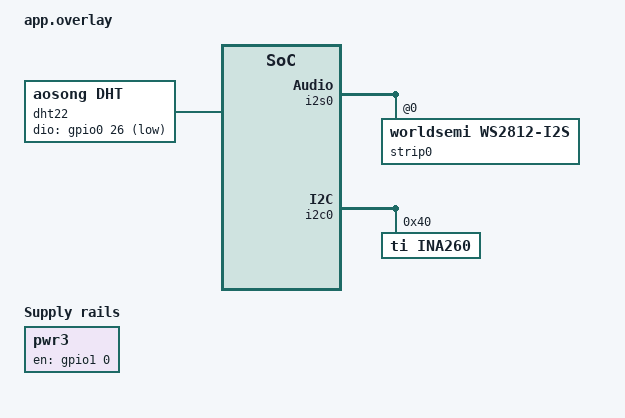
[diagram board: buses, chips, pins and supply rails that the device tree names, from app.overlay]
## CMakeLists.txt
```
cmake_minimum_required(VERSION 3.20.0)

find_package(Zephyr REQUIRED HINTS $ENV{ZEPHYR_BASE})
project(solar-node)

target_sources(app PRIVATE 
    src/main.cpp
    src/wifi_autoconnect.c
    src/mqtt_client.c
    src/ina_sensor.c
    src/dht_sensor.c
    src/output_control.c
    src/battery_soc.c
)
```

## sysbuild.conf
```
# Build MCUboot alongside the Solar Node application.
SB_CONFIG_BOOTLOADER_MCUBOOT=y
```

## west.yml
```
manifest:
  remotes:
    - name: zephyrproject-rtos
      url-base: https://github.com/zephyrproject-rtos
    - name: golioth
      url-base: https://github.com/golioth

  projects:
    - name: zephyr
      remote: zephyrproject-rtos
      revision: v4.4.0
      import: true
    - name: zephyr-ina260
      remote: golioth
      revision: main
      path: modules/drivers/ina260

  self:
    path: solar-node
```

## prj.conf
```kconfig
# Console & Logging Configuration
CONFIG_CONSOLE=y
CONFIG_UART_CONSOLE=y
CONFIG_LOG=y
CONFIG_LOG_DEFAULT_LEVEL=3

# Zephyr Shell over UART
CONFIG_SHELL=y
CONFIG_SHELL_BACKEND_SERIAL=y
CONFIG_SHELL_PROMPT_UART="solar-node:~$ "
CONFIG_SHELL_BACKEND_SERIAL_CHECK_DTR=n
CONFIG_SHELL_VT100_COMMANDS=n
CONFIG_LOG_BACKEND_SHOW_COLOR=n
CONFIG_NET_SHELL=y
CONFIG_NET_L2_WIFI_SHELL=y

# Subsystem Dependencies
CONFIG_GPIO=y

# Stack & Heap Sizes
CONFIG_MAIN_STACK_SIZE=8192

# C++ Support
CONFIG_CPP=y
CONFIG_STD_CPP17=y
CONFIG_GLIBCXX_LIBCPP=y

CONFIG_LED_STRIP=y
CONFIG_I2S=y
CONFIG_WS2812_STRIP_I2S=y

CONFIG_CBPRINTF_FP_SUPPORT=y

# Networking & WiFi 
CONFIG_EARLY_CONSOLE=y
CONFIG_NETWORKING=y
CONFIG_TEST_RANDOM_GENERATOR=y

# Stack Sizes for Networking
CONFIG_NET_TX_STACK_SIZE=2048
CONFIG_NET_RX_STACK_SIZE=2048

# Network Buffers and Contexts
CONFIG_NET_PKT_RX_COUNT=10
CONFIG_NET_PKT_TX_COUNT=20
CONFIG_NET_BUF_RX_COUNT=20
CONFIG_NET_BUF_TX_COUNT=40
CONFIG_NET_MAX_CONTEXTS=10

# IPv4 and DHCP
CONFIG_NET_IPV4=y
CONFIG_NET_DHCPV4=y

# TCP/IP Protocols
CONFIG_NET_TCP=y
CONFIG_NET_UDP=y

# WiFi Configuration
CONFIG_WIFI=y
CONFIG_WIFI_LOG_LEVEL_INF=y
CONFIG_NET_L2_WIFI_MGMT=y
CONFIG_NET_L2_ETHERNET=y

# ESP32 WiFi Station Mode (Auto DHCP)
CONFIG_ESP32_WIFI_STA_AUTO_DHCPV4=y
CONFIG_ESP32_WIFI_STA_RECONNECT=n

# Event Queue Management
CONFIG_NET_MGMT_EVENT_QUEUE_TIMEOUT=5000
CONFIG_NET_MGMT_EVENT_QUEUE_SIZE=16

# DNS Resolver
CONFIG_DNS_RESOLVER=y
CONFIG_DNS_RESOLVER_AUTO_INIT=y

# MQTT Configuration (Phase 3)
CONFIG_MQTT_LIB=y

# Sensor subsystem
CONFIG_SENSOR=y
CONFIG_INA260=y

# DHT22 Temperature & Humidity (Phase 1)
CONFIG_DHT=y

# Pwr 3 MOSFET switch via regulator-fixed (Phase 2)
CONFIG_REGULATOR=y
CONFIG_REGULATOR_SHELL=y

# I2C Subsystem & Shell Support
CONFIG_I2C=y
CONFIG_I2C_SHELL=y

CONFIG_SENSOR_SHELL=y

# OTA firmware updates via Zephyr MCUmgr/SMP over UDP
CONFIG_MCUMGR=y
CONFIG_ZCBOR=y
CONFIG_CRC=y
CONFIG_STREAM_FLASH=y
CONFIG_FLASH=y
CONFIG_FLASH_MAP=y
CONFIG_IMG_MANAGER=y
CONFIG_MCUMGR_GRP_IMG=y
CONFIG_MCUMGR_GRP_OS=y
CONFIG_MCUMGR_TRANSPORT_UDP=y
CONFIG_MCUMGR_TRANSPORT_UDP_IPV4=y
CONFIG_MCUMGR_TRANSPORT_UDP_IPV6=n
CONFIG_MCUMGR_TRANSPORT_UDP_PORT=1337
CONFIG_NET_SOCKETS=y
CONFIG_SYSTEM_WORKQUEUE_STACK_SIZE=2304
```

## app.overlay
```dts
#include <zephyr/dt-bindings/led/led.h>
#include <zephyr/dt-bindings/pinctrl/esp32-pinctrl.h>
#include <zephyr/dt-bindings/gpio/gpio.h>

/ {
	aliases {
		led-strip = &strip0;
	};

	dht22: dht22 {
		compatible = "aosong,dht";
		dio-gpios = <&gpio0 26 (GPIO_ACTIVE_LOW | GPIO_OPEN_DRAIN)>;
		dht22;
		status = "okay";
	};

	/* Pwr 3 (J16) — N-channel MOSFET low-side switch on IO32 (gpio1 pin 0).
	 * Exposed as a regulator so it is controllable from the shell:
	 *   regulator enable pwr3
	 *   regulator disable pwr3 */
	pwr3: pwr3 {
		compatible = "regulator-fixed";
		regulator-name = "pwr3";
		enable-gpios = <&gpio1 0 GPIO_ACTIVE_HIGH>;
		status = "okay";
	};
};

&i2s0_default {
	group1 {
		pinmux = <I2S0_O_WS_GPIO16>,
			 <I2S0_O_BCK_GPIO4>,
			 <I2S0_O_SD_GPIO2>,
			 <I2S0_I_SD_GPIO17>;
	};
};

&i2s0 {
	status = "okay";

	strip0: ws2812@0 {
		compatible = "worldsemi,ws2812-i2s";
		reg = <0>;
		chain-length = <1>;
		color-mapping = <LED_COLOR_ID_GREEN
				 LED_COLOR_ID_RED
				 LED_COLOR_ID_BLUE>;
		reset-delay = <500>;
	};
};

&i2c0 {
    status = "okay";

    ina260: ina260@40 {
        compatible = "ti,ina260";
        reg = <0x40>;
        status = "okay";
    };
};
```

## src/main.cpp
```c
#include <zephyr/kernel.h>
#include <zephyr/drivers/led_strip.h>
#include <zephyr/drivers/gpio.h>
#include <zephyr/drivers/i2s.h>
#include <zephyr/logging/log.h>

#include "wifi_autoconnect.h"
#include "mqtt_client.h"

LOG_MODULE_REGISTER(app, LOG_LEVEL_INF);

static const struct device *const strip = DEVICE_DT_GET(DT_ALIAS(led_strip));
static const struct device *const i2s_dev = DEVICE_DT_GET(DT_NODELABEL(i2s0));

static struct led_rgb pixel_buf[4];

/* LED blink thread to isolate I2S timing from other workers. */
static struct k_thread led_thread_data;
K_THREAD_STACK_DEFINE(led_thread_stack, 1024);

static void led_blink_thread(void *p1, void *p2, void *p3)
{
    ARG_UNUSED(p1);
    ARG_UNUSED(p2);
    ARG_UNUSED(p3);

    bool blink_on = false;
    bool last_connected = false;

    while (1) {
        bool connected = wifi_autoconnect_is_connected();
        if (connected != last_connected) {
            last_connected = connected;
            blink_on = false;
        }

        blink_on = !blink_on;
        if (blink_on) {
            if (connected) {
                pixel_buf[0].r = 0x00;
                pixel_buf[0].g = 0x00;
                pixel_buf[0].b = 0x80;
            } else {
                pixel_buf[0].r = 0x00;
                pixel_buf[0].g = 0x80;
                pixel_buf[0].b = 0x00;
            }
        } else {
            pixel_buf[0].r = 0x00;
            pixel_buf[0].g = 0x00;
            pixel_buf[0].b = 0x00;
        }

        int ret = 0;
        /* Try a few times to recover from transient I/O errors. */
        for (int attempt = 0; attempt < 3; attempt++) {
            ret = led_strip_update_rgb(strip, pixel_buf, 1);
            if (ret == 0) {
                break;
            }
            LOG_ERR("led_strip_update_rgb(blink) failed (attempt %d): %d", attempt + 1, ret);
            k_msleep(50);
        }
        /* If all retries failed the I2S state machine is in ERROR. Use
         * I2S_TRIGGER_PREPARE to reset it back to READY so the next
         * blink attempt can succeed. */
        if (ret != 0) {
            i2s_trigger(i2s_dev, I2S_DIR_TX, I2S_TRIGGER_PREPARE);
        }

        k_msleep(500);
    }
}

int main(void) {
    if (!device_is_ready(strip)) {
        LOG_ERR("LED strip device is not ready");
        return 0;
    }

    LOG_INF("=== Solar Node Starting ===");
    LOG_INF("LED strip ready; WiFi auto-connect is enabled");
    LOG_INF("Shell is still available for diagnostics:");
    LOG_INF("  wifi status");
    LOG_INF("  net iface");

    int auto_connect_ret = wifi_autoconnect_start();
    if (auto_connect_ret) {
        LOG_WRN("Auto-connect request failed: %d", auto_connect_ret);
    }

    /* Initialize the Solar MQTT helper (stub implementation for now). */
    solar_mqtt_init();

    LOG_INF("LED behavior: blinking GREEN until WiFi connects, then BLUE");

    /* Start LED blink thread at slightly higher priority than telemetry workers
     * so LED timing isn't starved by network activity. */
    k_thread_create(&led_thread_data, led_thread_stack,
                    K_THREAD_STACK_SIZEOF(led_thread_stack), led_blink_thread,
                    NULL, NULL, NULL, K_PRIO_PREEMPT(6), 0, K_NO_WAIT);

    /* Main thread becomes an idle poller for WiFi/MQTT startup. */
    bool mqtt_started = false;
    bool last_connected = false;

    while (1) {
        wifi_autoconnect_poll();

        bool connected = wifi_autoconnect_is_connected();
        if (connected != last_connected) {
            last_connected = connected;
            if (connected && !mqtt_started) {
                int rc = solar_mqtt_start();
                if (rc == 0) {
                    mqtt_started = true;
                } else {
                    LOG_WRN("MQTT client failed to start: %d", rc);
                }
            }
        }

        k_msleep(200);
    }

    return 0;
}
```

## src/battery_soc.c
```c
#include "battery_soc.h"
#include <stddef.h>

/*
 * AGM / Lead-Acid 12 V discharge curve (resting open-circuit voltage).
 * Points are ordered highest to lowest voltage.
 * Linear interpolation is used between points; values outside the range
 * are clamped to 100 % (above) or 0 % (below).
 */
struct soc_point {
	float voltage;
	int   soc_pct;
};

static const struct soc_point agm_curve[] = {
	{ 12.70f, 100 },
	{ 12.50f,  90 },
	{ 12.40f,  80 },
	{ 12.20f,  70 },
	{ 12.00f,  50 },
	{ 11.90f,  40 },
	{ 11.80f,  30 },
	{ 11.70f,  20 },
	{ 11.60f,  10 },
};

#define CURVE_LEN (sizeof(agm_curve) / sizeof(agm_curve[0]))

int battery_soc_from_voltage(float v_batt)
{
	if (v_batt >= agm_curve[0].voltage) {
		return 100;
	}
	if (v_batt <= agm_curve[CURVE_LEN - 1].voltage) {
		return 0;
	}

	for (size_t i = 0; i < CURVE_LEN - 1; i++) {
		float vhi = agm_curve[i].voltage;
		float vlo = agm_curve[i + 1].voltage;

		if (v_batt <= vhi && v_batt >= vlo) {
			float frac = (v_batt - vlo) / (vhi - vlo);
			int phi = agm_curve[i].soc_pct;
			int plo = agm_curve[i + 1].soc_pct;
			return (int)(plo + frac * (float)(phi - plo) + 0.5f);
		}
	}

	return 0;
}
```

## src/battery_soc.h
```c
#ifndef SRC_BATTERY_SOC_H_
#define SRC_BATTERY_SOC_H_

/*
 * Battery State of Charge estimation for 12V Lead-Acid / AGM batteries.
 *
 * SoC is derived from resting open-circuit voltage using a piecewise linear
 * interpolation over a measured AGM discharge curve. Readings are only valid
 * when the battery is at rest (no charge or load current). Call-site code is
 * responsible for detecting the charging condition and clamping SoC to 100.
 */

/* Returns estimated SoC in the range [0, 100].
 * Clamps below 11.60 V to 0 and above 12.70 V to 100. */
int battery_soc_from_voltage(float v_batt);

#endif /* SRC_BATTERY_SOC_H_ */
```

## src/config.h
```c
#ifndef SRC_CONFIG_H_
#define SRC_CONFIG_H_

// WiFi Configuration
#define WIFI_SSID "ChlumNet"
#define WIFI_PASSWORD "W!f!P@ssword"

// MQTT Configuration
#define MQTT_BROKER_HOST "192.168.1.182"
#define MQTT_BROKER_PORT 1883
// Optional MQTT auth (leave empty to disable)
#define MQTT_USERNAME "admin"
#define MQTT_PASSWORD "deutschland"

// MQTT client identifier and Home Assistant prefix
#define MQTT_CLIENT_ID "solar_node"
#define MQTT_DISCOVERY_PREFIX "homeassistant"

// Device Configuration
#define DEVICE_ID "solar_node"
#define DEVICE_NAME "Solar Node"

#endif /* SRC_CONFIG_H_ */
```

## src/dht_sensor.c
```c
#include "dht_sensor.h"

#include <zephyr/device.h>
#include <zephyr/drivers/sensor.h>
#include <zephyr/logging/log.h>

LOG_MODULE_REGISTER(dht_sensor, LOG_LEVEL_INF);

static const struct device *const dht22_dev = DEVICE_DT_GET(DT_NODELABEL(dht22));

int dht_sensor_init(void)
{
	if (!device_is_ready(dht22_dev)) {
		LOG_ERR("DHT22 device not ready");
		return -ENODEV;
	}
	LOG_INF("DHT22 ready on IO26");
	return 0;
}

int dht_sensor_read(float *temp_c, float *humidity_pct)
{
	int rc = sensor_sample_fetch(dht22_dev);
	if (rc < 0) {
		LOG_WRN("DHT22 sample fetch failed: %d", rc);
		return rc;
	}

	struct sensor_value temp, humidity;

	rc = sensor_channel_get(dht22_dev, SENSOR_CHAN_AMBIENT_TEMP, &temp);
	if (rc < 0) {
		LOG_WRN("DHT22 temp channel read failed: %d", rc);
		return rc;
	}

	rc = sensor_channel_get(dht22_dev, SENSOR_CHAN_HUMIDITY, &humidity);
	if (rc < 0) {
		LOG_WRN("DHT22 humidity channel read failed: %d", rc);
		return rc;
	}

	/* sensor_value: val1 = integer part, val2 = micro (1e-6) fractional part */
	*temp_c       = (float)temp.val1     + (float)temp.val2     / 1000000.0f;
	*humidity_pct = (float)humidity.val1 + (float)humidity.val2 / 1000000.0f;
	return 0;
}
```

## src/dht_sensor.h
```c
#ifndef SRC_DHT_SENSOR_H_
#define SRC_DHT_SENSOR_H_

/* Returns 0 on success, negative errno on failure. */
int dht_sensor_init(void);
int dht_sensor_read(float *temp_c, float *humidity_pct);

#endif /* SRC_DHT_SENSOR_H_ */
```

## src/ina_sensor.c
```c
#include "ina_sensor.h"

#include <zephyr/kernel.h>
#include <zephyr/logging/log.h>
#include <zephyr/drivers/sensor.h>
#include <zephyr/devicetree.h>

#include <stdbool.h>
#include <stdint.h>
#include <errno.h>

LOG_MODULE_REGISTER(ina_sensor, LOG_LEVEL_INF);

#define INA_SAMPLE_PERIOD_MS 1000

static const struct device *const dev_battery_ina = DEVICE_DT_GET(DT_NODELABEL(ina260));

static struct k_thread ina_thread_data;
K_THREAD_STACK_DEFINE(ina_thread_stack, 2048);

static struct k_mutex avg_lock;
static double sum_battery_v;
static double sum_battery_current_a;
static double sum_battery_power_w;
static uint32_t sample_count;
static bool started;

static float sensor_value_to_f32(const struct sensor_value *val)
{
	return (float)val->val1 + (float)val->val2 / 1000000.0f;
}

static int read_battery_ina260(float *battery_v, float *battery_current_a, float *battery_power_w)
{
	int ret = sensor_sample_fetch(dev_battery_ina);
	if (ret < 0) {
		LOG_WRN("sensor_sample_fetch(%s) failed: %d", dev_battery_ina->name, ret);
		return ret;
	}

	struct sensor_value voltage_val;
	struct sensor_value current_val;
	struct sensor_value power_val;

	ret = sensor_channel_get(dev_battery_ina, SENSOR_CHAN_VOLTAGE, &voltage_val);
	if (ret < 0) {
		LOG_WRN("sensor_channel_get(%s, VOLTAGE) failed: %d", dev_battery_ina->name, ret);
		return ret;
	}

	ret = sensor_channel_get(dev_battery_ina, SENSOR_CHAN_CURRENT, &current_val);
	if (ret < 0) {
		LOG_WRN("sensor_channel_get(%s, CURRENT) failed: %d", dev_battery_ina->name, ret);
		return ret;
	}

	ret = sensor_channel_get(dev_battery_ina, SENSOR_CHAN_POWER, &power_val);
	if (ret < 0) {
		LOG_WRN("sensor_channel_get(%s, POWER) failed: %d", dev_battery_ina->name, ret);
		return ret;
	}

	*battery_v = sensor_value_to_f32(&voltage_val);
	*battery_current_a = sensor_value_to_f32(&current_val);
	*battery_power_w = sensor_value_to_f32(&power_val);

	return 0;
}

static void ina_sensor_worker(void *p1, void *p2, void *p3)
{
	ARG_UNUSED(p1);
	ARG_UNUSED(p2);
	ARG_UNUSED(p3);

	while (1) {
		float battery_v;
		float battery_current_a;
		float battery_power_w;

		int rc = read_battery_ina260(&battery_v, &battery_current_a, &battery_power_w);
		if (rc == 0) {
			k_mutex_lock(&avg_lock, K_FOREVER);
			sum_battery_v += battery_v;
			sum_battery_current_a += battery_current_a;
			sum_battery_power_w += battery_power_w;
			sample_count++;
			k_mutex_unlock(&avg_lock);
		}

		k_msleep(INA_SAMPLE_PERIOD_MS);
	}
}

int ina_sensor_init(void)
{
	if (started) {
		return 0;
	}

	if (!device_is_ready(dev_battery_ina)) {
		LOG_ERR("Battery INA260 %s not ready", dev_battery_ina->name);
		return -ENODEV;
	}

	k_mutex_init(&avg_lock);
	sum_battery_v = 0.0;
	sum_battery_current_a = 0.0;
	sum_battery_power_w = 0.0;
	sample_count = 0U;

	k_thread_create(&ina_thread_data, ina_thread_stack,
			K_THREAD_STACK_SIZEOF(ina_thread_stack), ina_sensor_worker,
			NULL, NULL, NULL, K_PRIO_PREEMPT(7), 0, K_NO_WAIT);
	started = true;
	LOG_INF("INA sensor thread started (period=%d ms)", INA_SAMPLE_PERIOD_MS);

	return 0;
}

int ina_sensor_get_averages(float *battery_v, float *battery_current_a,
			    float *battery_power_w, uint32_t *samples)
{
	if (!started) {
		return -EACCES;
	}

	if (!battery_v || !battery_current_a || !battery_power_w || !samples) {
		return -EINVAL;
	}

	k_mutex_lock(&avg_lock, K_FOREVER);

	if (sample_count == 0U) {
		k_mutex_unlock(&avg_lock);
		return -EAGAIN;
	}

	*battery_v = (float)(sum_battery_v / (double)sample_count);
	*battery_current_a = (float)(sum_battery_current_a / (double)sample_count);
	*battery_power_w = (float)(sum_battery_power_w / (double)sample_count);
	*samples = sample_count;

	sum_battery_v = 0.0;
	sum_battery_current_a = 0.0;
	sum_battery_power_w = 0.0;
	sample_count = 0U;

	k_mutex_unlock(&avg_lock);
	return 0;
}
```

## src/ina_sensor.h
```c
#ifndef SRC_INA_SENSOR_H_
#define SRC_INA_SENSOR_H_

#include <stdint.h>

/* Returns 0 on success, negative errno on failure. */
int ina_sensor_init(void);
int ina_sensor_get_averages(float *battery_v, float *battery_current_a,
			    float *battery_power_w, uint32_t *sample_count);

#endif /* SRC_INA_SENSOR_H_ */
```

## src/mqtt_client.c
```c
/* Full MQTT client: plain (non-TLS) connection with RSSI, battery INA260
 * voltage/current/power, Battery SoC, Temperature, and Humidity telemetry.
 * - resolves MQTT_BROKER_HOST
 * - connects to broker, sets LWT to solar_node/availability (offline retained)
 * - reads battery bus voltage, current, and power as INA260 rolling averages
 * - computes battery SoC from AGM discharge curve using INA260 voltage
 * - reads DHT22 on IO26 for temperature and humidity
 */

#include "mqtt_client.h"
#include "config.h"
#include "wifi_autoconnect.h"
#include "dht_sensor.h"
#include "output_control.h"
#include "battery_soc.h"
#include "ina_sensor.h"

#include <zephyr/kernel.h>
#include <zephyr/logging/log.h>
#include <zephyr/net/socket.h>
#include <zephyr/net/mqtt.h>
#include <zephyr/net/net_if.h>
#include <zephyr/net/net_mgmt.h>
#include <zephyr/net/wifi_mgmt.h>
#include <stdint.h>
#include <stdbool.h>
#include <stddef.h>
#include <errno.h>
#include <string.h>
#include <stdio.h>

LOG_MODULE_REGISTER(solar_mqtt, LOG_LEVEL_INF);

/* AGM battery SoC thresholds */
#define BATT_FULL_VOLTAGE_V   12.70f  /* resting voltage at 100 % SoC */

/* Buffers and client instance */
static struct mqtt_client client;
static uint8_t rx_buffer[512];
static uint8_t tx_buffer[512];

/* WiFi scan helpers */
static struct net_mgmt_event_callback scan_cb;
static struct k_sem scan_sem;
static int8_t last_rssi = INT8_MIN;

/* Worker thread that performs periodic scans, reads sensor values, and publishes telemetry */
static struct k_thread mqtt_thread_data;
K_THREAD_STACK_DEFINE(mqtt_thread_stack, 4096);

/* Separate MQTT I/O thread to process CONNACK, PINGRESP and disconnects */
static struct k_thread mqtt_io_thread_data;
K_THREAD_STACK_DEFINE(mqtt_io_thread_stack, 3072);

static bool started;
static volatile bool mqtt_connected = false;

static int mqtt_do_connect(void);

static int mqtt_socket_fd(const struct mqtt_client *c)
{
	if (c->transport.type == MQTT_TRANSPORT_NON_SECURE) {
		return c->transport.tcp.sock;
	}
#if defined(CONFIG_MQTT_LIB_TLS)
	if (c->transport.type == MQTT_TRANSPORT_SECURE) {
		return c->transport.tls.sock;
	}
#endif
	return -1;
}

static void mqtt_io_worker(void *p1, void *p2, void *p3)
{
	ARG_UNUSED(p1);
	ARG_UNUSED(p2);
	ARG_UNUSED(p3);

	while (1) {
		int fd = mqtt_socket_fd(&client);
		if (fd < 0) {
			if (wifi_autoconnect_is_connected() && started && !mqtt_connected) {
				/* WiFi is up but socket is gone — reconnect */
				k_msleep(5000);
				LOG_INF("MQTT reconnecting...");
				mqtt_do_connect();
			} else {
				k_msleep(250);
			}
			continue;
		}

		int timeout = mqtt_keepalive_time_left(&client);
		if (timeout < 0 || timeout > 1000) {
			timeout = 1000;
		}

		struct zsock_pollfd pfd = {
			.fd = fd,
			.events = ZSOCK_POLLIN,
			.revents = 0,
		};

		int prc = zsock_poll(&pfd, 1, timeout);
		if (prc < 0) {
			LOG_WRN("mqtt poll failed: %d", errno);
			k_msleep(250);
			continue;
		}

		if (prc > 0 && (pfd.revents & ZSOCK_POLLIN)) {
			int irc = mqtt_input(&client);
			if (irc && irc != -EAGAIN) {
				LOG_WRN("mqtt_input failed: %d", irc);
			}
		}

		if (prc > 0 && (pfd.revents & (ZSOCK_POLLERR | ZSOCK_POLLHUP | ZSOCK_POLLNVAL))) {
			LOG_WRN("mqtt socket event: revents=0x%x", pfd.revents);
			mqtt_connected = false;
		}

		int lrc = mqtt_live(&client);
		if (lrc && lrc != -EAGAIN) {
			LOG_WRN("mqtt_live failed: %d", lrc);
		}
	}
}

static void mqtt_publish_str(const char *topic_str, const char *payload, bool retain)
{
	struct mqtt_publish_param param;
	memset(&param, 0, sizeof(param));

	struct mqtt_utf8 topic = {
		.utf8 = (const uint8_t *)topic_str,
		.size = strlen(topic_str)
	};

	param.message.topic.topic = topic;
	param.message.topic.qos = MQTT_QOS_0_AT_MOST_ONCE;
	param.message.payload.data = (uint8_t *)payload;
	param.message.payload.len = strlen(payload);
	param.message_id = (uint16_t)(k_cycle_get_32() & 0xffff);
	param.retain_flag = retain ? 1 : 0;

	int rc = mqtt_publish(&client, &param);
	if (rc) {
		LOG_WRN("mqtt_publish to %s failed: %d", topic_str, rc);
	} else {
		LOG_INF("Published -> %s: %s", topic_str, payload);
	}
}

static void publish_telemetry(float battery_v, float battery_current_a, float battery_power_w,
			      int soc,
			      bool dht_ok, float temp_c, float humidity_pct)
{
	char payload[32];

	/* 1. RSSI */
	if (last_rssi != INT8_MIN) {
		snprintf(payload, sizeof(payload), "%d", last_rssi);
		mqtt_publish_str("solar_node/sensor/rssi/state", payload, false);
	}

	/* 2. Battery Voltage */
	snprintf(payload, sizeof(payload), "%.2f", battery_v);
	mqtt_publish_str("solar_node/sensor/battery_voltage/state", payload, false);

	/* 3. Battery Current */
	snprintf(payload, sizeof(payload), "%.3f", battery_current_a);
	mqtt_publish_str("solar_node/sensor/battery_current/state", payload, false);

	/* 4. Battery Power */
	snprintf(payload, sizeof(payload), "%.3f", battery_power_w);
	mqtt_publish_str("solar_node/sensor/battery_power/state", payload, false);

	/* 5. Battery SoC */
	snprintf(payload, sizeof(payload), "%d", soc);
	mqtt_publish_str("solar_node/sensor/battery_soc/state", payload, false);

	/* 6 & 7. Temperature and Humidity (skipped if DHT22 read failed) */
	if (dht_ok) {
		snprintf(payload, sizeof(payload), "%.1f", temp_c);
		mqtt_publish_str("solar_node/sensor/temperature/state", payload, false);

		snprintf(payload, sizeof(payload), "%.1f", humidity_pct);
		mqtt_publish_str("solar_node/sensor/humidity/state", payload, false);
	}
}

static void mqtt_event_handler(struct mqtt_client *const c, const struct mqtt_evt *evt)
{
	ARG_UNUSED(c);

	LOG_INF("mqtt_event_handler: type=%d result=%d", evt->type, evt->result);

	switch (evt->type) {
	case MQTT_EVT_CONNACK:
		if (evt->result == 0 && evt->param.connack.return_code == MQTT_CONNECTION_ACCEPTED) {
			LOG_INF("MQTT connected (CONNACK OK)");
			mqtt_connected = true;

			/* Availability: online (retained) */
			mqtt_publish_str("solar_node/availability", "online", true);

			/* Subscribe to the switch command topic */
			static struct mqtt_topic lights_cmd_topic = {
				.topic = MQTT_UTF8_LITERAL("solar_node/switch/lights/command"),
				.qos = MQTT_QOS_0_AT_MOST_ONCE,
			};
			struct mqtt_subscription_list lights_sub = {
				.list = &lights_cmd_topic,
				.list_count = 1,
				.message_id = 1,
			};
			int sub_rc = mqtt_subscribe(&client, &lights_sub);
			if (sub_rc) {
				LOG_WRN("mqtt_subscribe(lights command) failed: %d", sub_rc);
			} else {
				LOG_INF("Subscribed to solar_node/switch/lights/command");
			}

			/* Home Assistant Discovery */
			static const char disc_rssi[] =
				"{\"name\":\"RSSI\","
				"\"state_topic\":\"solar_node/sensor/rssi/state\","
				"\"unit_of_measurement\":\"dBm\","
				"\"device_class\":\"signal_strength\","
				"\"value_template\":\"{{ value }}\","
				"\"unique_id\":\"solar_node_rssi\","
				"\"device\":{\"identifiers\":[\"solar_node\"],\"name\":\"Solar Node\"}}";

			static const char disc_battery[] =
				"{\"name\":\"Battery Voltage\","
				"\"state_topic\":\"solar_node/sensor/battery_voltage/state\","
				"\"unit_of_measurement\":\"V\","
				"\"device_class\":\"voltage\","
				"\"suggested_display_precision\":2,"
				"\"value_template\":\"{{ value }}\","
				"\"unique_id\":\"solar_node_battery_v\","
				"\"device\":{\"identifiers\":[\"solar_node\"],\"name\":\"Solar Node\"}}";

			static const char disc_battery_current[] =
				"{\"name\":\"Battery Current\","
				"\"state_topic\":\"solar_node/sensor/battery_current/state\","
				"\"unit_of_measurement\":\"A\","
				"\"device_class\":\"current\","
				"\"suggested_display_precision\":3,"
				"\"value_template\":\"{{ value }}\","
				"\"unique_id\":\"solar_node_battery_current\","
				"\"device\":{\"identifiers\":[\"solar_node\"],\"name\":\"Solar Node\"}}";

			static const char disc_battery_power[] =
				"{\"name\":\"Battery Power\","
				"\"state_topic\":\"solar_node/sensor/battery_power/state\","
				"\"unit_of_measurement\":\"W\","
				"\"device_class\":\"power\","
				"\"suggested_display_precision\":3,"
				"\"value_template\":\"{{ value }}\","
				"\"unique_id\":\"solar_node_battery_power\","
				"\"device\":{\"identifiers\":[\"solar_node\"],\"name\":\"Solar Node\"}}";

			static const char disc_temp[] =
				"{\"name\":\"Temperature\","
				"\"state_topic\":\"solar_node/sensor/temperature/state\","
				"\"unit_of_measurement\":\"°C\","
				"\"device_class\":\"temperature\","
				"\"suggested_display_precision\":1,"
				"\"value_template\":\"{{ value }}\","
				"\"unique_id\":\"solar_node_temp\","
				"\"device\":{\"identifiers\":[\"solar_node\"],\"name\":\"Solar Node\"}}";

			static const char disc_humidity[] =
				"{\"name\":\"Humidity\","
				"\"state_topic\":\"solar_node/sensor/humidity/state\","
				"\"unit_of_measurement\":\"%\","
				"\"device_class\":\"humidity\","
				"\"suggested_display_precision\":1,"
				"\"value_template\":\"{{ value }}\","
				"\"unique_id\":\"solar_node_humidity\","
				"\"device\":{\"identifiers\":[\"solar_node\"],\"name\":\"Solar Node\"}}";

			static const char disc_lights[] =
				"{\"name\":\"Lights\","
				"\"command_topic\":\"solar_node/switch/lights/command\","
				"\"state_topic\":\"solar_node/switch/lights/state\","
				"\"payload_on\":\"ON\","
				"\"payload_off\":\"OFF\","
				"\"retain\":true,"
				"\"unique_id\":\"solar_node_lights\","
				"\"device\":{\"identifiers\":[\"solar_node\"],\"name\":\"Solar Node\"}}";

			static const char disc_battery_soc[] =
				"{\"name\":\"Battery SoC\","
				"\"state_topic\":\"solar_node/sensor/battery_soc/state\","
				"\"unit_of_measurement\":\"%\","
				"\"device_class\":\"battery\","
				"\"suggested_display_precision\":0,"
				"\"value_template\":\"{{ value }}\","
				"\"unique_id\":\"solar_node_battery_soc\","
				"\"device\":{\"identifiers\":[\"solar_node\"],\"name\":\"Solar Node\"}}";

			/* Yield between each discovery publish — rapid back-to-back sends
			 * exhaust the TCP TX buffers and cause the broker to drop the connection. */
			/* Clear old retained solar voltage discovery because solar ADC telemetry was removed. */
			mqtt_publish_str("homeassistant/sensor/solar_node/solar_voltage/config", "", true);
			k_msleep(100);
			mqtt_publish_str("homeassistant/sensor/solar_node/rssi/config", disc_rssi, true);
			k_msleep(100);
			mqtt_publish_str("homeassistant/sensor/solar_node/battery_voltage/config", disc_battery, true);
			k_msleep(100);
			mqtt_publish_str("homeassistant/sensor/solar_node/battery_current/config", disc_battery_current, true);
			k_msleep(100);
			mqtt_publish_str("homeassistant/sensor/solar_node/battery_power/config", disc_battery_power, true);
			k_msleep(100);
			mqtt_publish_str("homeassistant/sensor/solar_node/temperature/config", disc_temp, true);
			k_msleep(100);
			mqtt_publish_str("homeassistant/sensor/solar_node/humidity/config", disc_humidity, true);
			k_msleep(100);
			mqtt_publish_str("homeassistant/switch/solar_node/lights/config", disc_lights, true);
			k_msleep(100);
			mqtt_publish_str("homeassistant/sensor/solar_node/battery_soc/config", disc_battery_soc, true);
			mqtt_publish_str("solar_node/switch/lights/state", "OFF", true);

		} else {
			LOG_WRN("MQTT CONNACK failed (%d) rc=%d", evt->result, evt->param.connack.return_code);
		}
		break;
	case MQTT_EVT_PUBLISH:
		{
			/* In Zephyr MQTT, payload.data is always NULL on receive.
			 * The bytes live in the TCP socket buffer and must be read
			 * with mqtt_read_publish_payload_blocking(). Drain ALL bytes
			 * regardless of topic to keep the stream in sync. */
			size_t total_len = evt->param.publish.message.payload.len;
			char payload_buf[16];
			size_t read_len = MIN(total_len, sizeof(payload_buf) - 1);

			int bytes_read = mqtt_read_publish_payload_blocking(
				&client, payload_buf, read_len);
			if (bytes_read < 0) {
				LOG_WRN("mqtt_read_publish_payload failed: %d", bytes_read);
				break;
			}
			payload_buf[bytes_read] = '\0';

			/* Drain any bytes beyond our buffer to keep the stream in sync */
			size_t remaining = total_len - (size_t)bytes_read;
			while (remaining > 0) {
				char drain[32];
				size_t chunk = MIN(remaining, sizeof(drain));
				int rc = mqtt_read_publish_payload_blocking(&client, drain, chunk);
				if (rc <= 0) {
					break;
				}
				remaining -= (size_t)rc;
			}

			const struct mqtt_topic *topic = &evt->param.publish.message.topic;
			if (topic->topic.size == strlen("solar_node/switch/lights/command") &&
			    memcmp(topic->topic.utf8, "solar_node/switch/lights/command",
				   topic->topic.size) == 0) {
				bool light_on;
				if (strcmp(payload_buf, "ON") == 0) {
					light_on = true;
				} else if (strcmp(payload_buf, "OFF") == 0) {
					light_on = false;
				} else {
					LOG_WRN("Unhandled lights payload: %s", payload_buf);
					break;
				}

				int rc = output_control_set(light_on);
				if (rc == 0) {
					mqtt_publish_str("solar_node/switch/lights/state",
							 light_on ? "ON" : "OFF", true);
				}
			}
		}
		break;
	case MQTT_EVT_DISCONNECT:
		LOG_WRN("MQTT disconnected: %d", evt->result);
		mqtt_connected = false;
		break;
	default:
		break;
	}
}

static void scan_event_cb(struct net_mgmt_event_callback *cb,
			  uint64_t mgmt_event,
			  struct net_if *iface)
{
	ARG_UNUSED(iface);

	if (mgmt_event == NET_EVENT_WIFI_SCAN_RESULT) {
		if (!cb->info) {
			return;
		}
		const struct wifi_scan_result *res = (const struct wifi_scan_result *)cb->info;
		if (res->ssid_length && (res->ssid_length == strlen(WIFI_SSID)) &&
		    (memcmp(res->ssid, WIFI_SSID, res->ssid_length) == 0)) {
			last_rssi = res->rssi;
			LOG_INF("scan_event_cb: Found SSID '%s' RSSI=%d", WIFI_SSID, last_rssi);
		} else {
			LOG_DBG("scan_event_cb: scan result for SSID len=%d", res->ssid_length);
		}
	} else if (mgmt_event == NET_EVENT_WIFI_SCAN_DONE) {
		LOG_INF("scan_event_cb: scan done");
		k_sem_give(&scan_sem);
	}
}

static void mqtt_worker(void *p1, void *p2, void *p3)
{
	ARG_UNUSED(p1);
	ARG_UNUSED(p2);
	ARG_UNUSED(p3);

	while (1) {
		/* Wait until connected to WiFi and MQTT broker */
		if (!wifi_autoconnect_is_connected() || !mqtt_connected) {
			k_msleep(2000);
			continue;
		}

		/* Trigger WiFi scan for RSSI */
		struct wifi_scan_params params = { 0 };
		params.scan_type = WIFI_SCAN_TYPE_ACTIVE;
		params.max_bss_cnt = 20;

		struct net_if *iface = net_if_get_default();
		if (!iface) {
			k_msleep(5000);
			continue;
		}

		last_rssi = INT8_MIN;
		int rc = net_mgmt(NET_REQUEST_WIFI_SCAN, iface, &params, sizeof(params));
		if (rc) {
			LOG_WRN("Failed to request WiFi scan: %d", rc);
		} else {
			/* Wait for scan done or timeout */
			if (k_sem_take(&scan_sem, K_SECONDS(10)) != 0) {
				LOG_WRN("WiFi scan timed out");
			}
			/* ESP32 WiFi ISRs run above RTOS IRQ lock level; wait for them to settle
			 * before the DHT22 1-wire read or timing errors cause EIO. */
			k_msleep(500);
		}

		/* Read averaged battery INA260 measurements */
		float battery_v = 0.0f;
		float battery_current_a = 0.0f;
		float battery_power_w = 0.0f;

		uint32_t ina_samples = 0U;
		int err = ina_sensor_get_averages(&battery_v, &battery_current_a, &battery_power_w, &ina_samples);
		if (err) {
			LOG_WRN("Failed to read averaged battery INA260 values: %d", err);
			/* Publish cycle every 60 seconds */
			k_msleep(60000);
			continue;
		}
		LOG_INF("Battery INA260 avg (%u samples) -> V=%.6fV I=%.6fA P=%.6fW",
			ina_samples, battery_v, battery_current_a, battery_power_w);

		/* Compute battery SoC from INA260 bus voltage. */
		int soc = (battery_v >= BATT_FULL_VOLTAGE_V) ? 100 : battery_soc_from_voltage(battery_v);

		/* Read DHT22 Temperature & Humidity */
		float temp_c = 0.0f;
		float humidity_pct = 0.0f;
		bool dht_ok = (dht_sensor_read(&temp_c, &humidity_pct) == 0);

		/* Publish all gathered telemetry */
		publish_telemetry(battery_v, battery_current_a, battery_power_w, soc,
				  dht_ok, temp_c, humidity_pct);

		/* Publish cycle every 60 seconds */
		k_msleep(60000);
	}
}

void solar_mqtt_init(void)
{
	if (started) {
		return;
	}

	mqtt_client_init(&client);
	client.evt_cb = mqtt_event_handler;
	client.protocol_version = MQTT_VERSION_3_1_1;
	client.rx_buf = rx_buffer;
	client.rx_buf_size = sizeof(rx_buffer);
	client.tx_buf = tx_buffer;
	client.tx_buf_size = sizeof(tx_buffer);
	client.clean_session = 1;
	client.keepalive = 60;
	client.transport.type = MQTT_TRANSPORT_NON_SECURE;

	/* LWT */
	static struct mqtt_utf8 will_msg = MQTT_UTF8_LITERAL("offline");
	static struct mqtt_utf8 will_topic = MQTT_UTF8_LITERAL("solar_node/availability");
	static struct mqtt_topic will_t;
	will_t.topic = will_topic;
	will_t.qos = MQTT_QOS_0_AT_MOST_ONCE;
	client.will_topic = &will_t;
	client.will_message = &will_msg;
	client.will_retain = 1;

	k_sem_init(&scan_sem, 0, 1);
	if (ina_sensor_init() < 0) {
		LOG_ERR("INA sensor init failed");
	}

	dht_sensor_init();
	if (output_control_init() < 0) {
		LOG_WRN("Output control init failed; switch will remain unavailable");
	}

	/* Register scan callbacks */
	net_mgmt_init_event_callback(&scan_cb, scan_event_cb,
				     NET_EVENT_WIFI_SCAN_RESULT | NET_EVENT_WIFI_SCAN_DONE);
	net_mgmt_add_event_callback(&scan_cb);

	started = true;
}

/* Resolves broker address and opens the MQTT TCP connection. Called at startup
 * and by mqtt_io_worker on reconnect; does not spawn threads. */
static int mqtt_do_connect(void)
{
	LOG_INF("Connecting to MQTT broker %s:%d", MQTT_BROKER_HOST, MQTT_BROKER_PORT);

	struct zsock_addrinfo *res = NULL;
	char service[8];
	snprintf(service, sizeof(service), "%d", MQTT_BROKER_PORT);

	int gai = zsock_getaddrinfo(MQTT_BROKER_HOST, service, NULL, &res);
	if (gai == 0 && res) {
		struct sockaddr_in *addr = (struct sockaddr_in *)res->ai_addr;
		static struct sockaddr_in broker_addr_dns;
		broker_addr_dns = *addr;
		broker_addr_dns.sin_port = htons(MQTT_BROKER_PORT);
		client.broker = (struct sockaddr *)&broker_addr_dns;
	} else {
		/* Fallback: parse MQTT_BROKER_HOST as a numeric IPv4 address */
		static struct sockaddr_in broker_addr_static;
		memset(&broker_addr_static, 0, sizeof(broker_addr_static));
		int p = zsock_inet_pton(AF_INET, MQTT_BROKER_HOST,
					&broker_addr_static.sin_addr);
		if (p == 1) {
			broker_addr_static.sin_family = AF_INET;
			broker_addr_static.sin_port = htons(MQTT_BROKER_PORT);
			client.broker = (struct sockaddr *)&broker_addr_static;
		} else {
			LOG_ERR("DNS resolution failed for %s: %d", MQTT_BROKER_HOST, gai);
			zsock_freeaddrinfo(res);
			return -ENOTCONN;
		}
	}

	client.client_id = MQTT_UTF8_LITERAL(MQTT_CLIENT_ID);

	static struct mqtt_utf8 username_utf8;
	static struct mqtt_utf8 password_utf8;
	if (strlen(MQTT_USERNAME) > 0) {
		username_utf8.utf8 = (const uint8_t *)MQTT_USERNAME;
		username_utf8.size = strlen(MQTT_USERNAME);
		client.user_name = &username_utf8;
	}
	if (strlen(MQTT_PASSWORD) > 0) {
		password_utf8.utf8 = (const uint8_t *)MQTT_PASSWORD;
		password_utf8.size = strlen(MQTT_PASSWORD);
		client.password = &password_utf8;
	}

	int rc = mqtt_connect(&client);
	zsock_freeaddrinfo(res);
	if (rc == 0) {
		char ipbuf[40] = {0};
		struct sockaddr_in *sin = (struct sockaddr_in *)client.broker;
		zsock_inet_ntop(AF_INET, &sin->sin_addr, ipbuf, sizeof(ipbuf));
		LOG_INF("MQTT TCP connected to %s:%d", ipbuf, MQTT_BROKER_PORT);
	} else {
		LOG_ERR("mqtt_connect() failed: %d", rc);
	}
	return rc;
}

int solar_mqtt_start(void)
{
	if (!started) {
		return -EINVAL;
	}

	int rc = mqtt_do_connect();
	if (rc) {
		return rc;
	}

	/* Start I/O thread first so CONNACK and keepalives are processed. */
	k_thread_create(&mqtt_io_thread_data, mqtt_io_thread_stack,
			K_THREAD_STACK_SIZEOF(mqtt_io_thread_stack), mqtt_io_worker,
			NULL, NULL, NULL, K_PRIO_PREEMPT(7), 0, K_NO_WAIT);
	LOG_INF("mqtt_io thread started");

	/* Start telemetry worker thread. */
	k_thread_create(&mqtt_thread_data, mqtt_thread_stack,
			K_THREAD_STACK_SIZEOF(mqtt_thread_stack), mqtt_worker,
			NULL, NULL, NULL, K_PRIO_PREEMPT(7), 0, K_NO_WAIT);
	LOG_INF("mqtt_worker thread started");

	return 0;
}
```

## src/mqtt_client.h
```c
/* MQTT client interface for Solar Node */
#ifndef SRC_MQTT_CLIENT_H_
#define SRC_MQTT_CLIENT_H_

#ifdef __cplusplus
extern "C" {
#endif

void solar_mqtt_init(void);
int solar_mqtt_start(void);

#ifdef __cplusplus
}
#endif

#endif /* SRC_MQTT_CLIENT_H_ */
```

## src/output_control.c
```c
#include "output_control.h"

#include <zephyr/drivers/regulator.h>
#include <zephyr/logging/log.h>

LOG_MODULE_REGISTER(output_control, LOG_LEVEL_INF);

static const struct device *const pwr3_reg = DEVICE_DT_GET(DT_NODELABEL(pwr3));

int output_control_init(void)
{
	if (!device_is_ready(pwr3_reg)) {
		LOG_ERR("Pwr3 regulator device not ready");
		return -ENODEV;
	}
	LOG_INF("Lights output ready on IO32/Pwr3 (regulator-fixed)");
	return 0;
}

int output_control_set(bool on)
{
	/* Guard against double-enable / double-disable, which would
	 * corrupt the regulator reference count and cause errors.
	 * This also keeps MQTT and shell in sync — either path can
	 * toggle the output and the other sees the correct state. */
	if ((bool)regulator_is_enabled(pwr3_reg) == on) {
		return 0;
	}

	int ret = on ? regulator_enable(pwr3_reg) : regulator_disable(pwr3_reg);
	if (ret < 0) {
		LOG_ERR("Failed to %s Pwr3: %d", on ? "enable" : "disable", ret);
		return ret;
	}

	LOG_INF("Lights output %s", on ? "ON" : "OFF");
	return 0;
}
```

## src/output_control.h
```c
#ifndef SRC_OUTPUT_CONTROL_H_
#define SRC_OUTPUT_CONTROL_H_

#include <stdbool.h>

/* Returns 0 on success, negative errno on failure. */
int output_control_init(void);
int output_control_set(bool on);

#endif /* SRC_OUTPUT_CONTROL_H_ */
```

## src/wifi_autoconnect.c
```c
#include "wifi_autoconnect.h"
#include "config.h"

#include <errno.h>
#include <string.h>

#include <zephyr/kernel.h>
#include <zephyr/logging/log.h>
#include <zephyr/net/net_if.h>
#include <zephyr/net/net_ip.h>
#include <zephyr/net/net_mgmt.h>
#include <zephyr/net/wifi_mgmt.h>

LOG_MODULE_REGISTER(wifi_autoconnect, LOG_LEVEL_INF);

static bool started;
static int64_t next_attempt_ms;
static struct net_mgmt_event_callback wifi_cb;

/* Retry timings */
#define INITIAL_DELAY_MS 2000
#define RETRY_MS 20000
#define QUICK_RETRY_MS 5000

static bool has_ipv4(void)
{
    struct net_if *iface = net_if_get_default();
    if (!iface) {
        return false;
    }
    return net_if_ipv4_get_global_addr(iface, NET_ADDR_PREFERRED) != NULL;
}

static void wifi_event_cb(struct net_mgmt_event_callback *cb,
                          uint64_t mgmt_event,
                          struct net_if *iface)
{
    ARG_UNUSED(cb);
    ARG_UNUSED(iface);

    if (!cb->info || cb->info_length != sizeof(struct wifi_status)) {
        return;
    }

    const struct wifi_status *st = (const struct wifi_status *)cb->info;
    int code = st->status;

    if (mgmt_event == NET_EVENT_WIFI_CONNECT_RESULT) {
        int mapped = code;
        if (mapped == -ETIMEDOUT) {
            mapped = WIFI_STATUS_CONN_TIMEOUT;
        }
        LOG_INF("WiFi connect result: %s (%d)", wifi_conn_status_txt(mapped), code);
        if (mapped != WIFI_STATUS_CONN_SUCCESS) {
            next_attempt_ms = k_uptime_get() + QUICK_RETRY_MS;
        }
    } else if (mgmt_event == NET_EVENT_WIFI_DISCONNECT_RESULT) {
        LOG_WRN("WiFi disconnect event code: %d", code);
        next_attempt_ms = k_uptime_get() + QUICK_RETRY_MS;
    }
}

static int do_connect(void)
{
    struct net_if *iface = net_if_get_default();
    if (!iface) {
        return -ENODEV;
    }

    uint8_t ssid_buf[WIFI_SSID_MAX_LEN + 1] = {0};
    uint8_t psk_buf[WIFI_PSK_MAX_LEN + 1] = {0};
    size_t ssid_len = strlen(WIFI_SSID);
    size_t psk_len = strlen(WIFI_PASSWORD);

    if (ssid_len == 0 || ssid_len > WIFI_SSID_MAX_LEN) {
        return -EINVAL;
    }

    memcpy(ssid_buf, WIFI_SSID, ssid_len);

    struct wifi_connect_req_params params = {
        .ssid = ssid_buf,
        .ssid_length = (uint8_t)ssid_len,
        .channel = WIFI_CHANNEL_ANY,
        .band = WIFI_FREQ_BAND_UNKNOWN,
        .mfp = WIFI_MFP_OPTIONAL,
        .timeout = 20,
    };

    if (psk_len > 0) {
        if (psk_len < WIFI_PSK_MIN_LEN || psk_len > WIFI_PSK_MAX_LEN) {
            return -EINVAL;
        }
        memcpy(psk_buf, WIFI_PASSWORD, psk_len);
        params.psk = psk_buf;
        params.psk_length = (uint8_t)psk_len;
        params.security = WIFI_SECURITY_TYPE_PSK;
    } else {
        params.security = WIFI_SECURITY_TYPE_NONE;
    }

    return net_mgmt(NET_REQUEST_WIFI_CONNECT, iface, &params, sizeof(params));
}

int wifi_autoconnect_start(void)
{
    if (started) {
        return 0;
    }

    net_mgmt_init_event_callback(&wifi_cb, wifi_event_cb,
                                 NET_EVENT_WIFI_CONNECT_RESULT |
                                 NET_EVENT_WIFI_DISCONNECT_RESULT);
    net_mgmt_add_event_callback(&wifi_cb);

    next_attempt_ms = k_uptime_get() + INITIAL_DELAY_MS;
    started = true;
    LOG_INF("Auto-connect manager started (SSID: %s)", WIFI_SSID);
    return 0;
}

void wifi_autoconnect_poll(void)
{
    if (!started) {
        return;
    }

    if (has_ipv4()) {
        return;
    }

    int64_t now = k_uptime_get();
    if (now < next_attempt_ms) {
        return;
    }

    int ret = do_connect();
    if (ret == 0 || ret == -EINPROGRESS || ret == -EALREADY) {
        LOG_INF("Auto-connect attempt issued (SSID: %s)", WIFI_SSID);
        next_attempt_ms = now + RETRY_MS;
    } else {
        LOG_WRN("Auto-connect request failed: %d", ret);
        next_attempt_ms = now + QUICK_RETRY_MS;
    }
}

bool wifi_autoconnect_is_connected(void)
{
    return has_ipv4();
}
```
